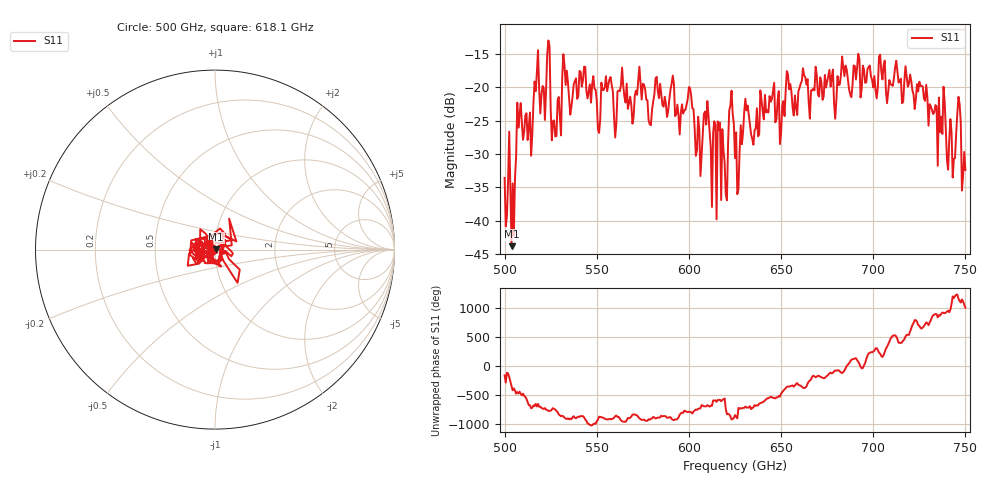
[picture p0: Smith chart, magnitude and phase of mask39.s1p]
!Created with skrf (http://scikit-rf.org).
# GHz S MA R 50.0
!freq magS11 angS11
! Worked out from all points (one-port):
!   401 points, 500 GHz to 750 GHz, reference 50 ohm
!   lowest |S11| = -43.8 dB at 503.8 GHz (marker M1), VSWR 1.01, Z = 50.6 + j0.128 ohm
!   |S11| at or under -10 dB: start of sweep to end of sweep
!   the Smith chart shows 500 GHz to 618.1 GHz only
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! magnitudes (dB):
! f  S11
! 500 GHz  -33.6
! 503.8 GHz  -43.8
! 508.1 GHz  -24.1
! 513.8 GHz  -23.8
! 517.5 GHz  -17.9
! 520.6 GHz  -19.8
! 523.8 GHz  -13.0
! 526.9 GHz  -25.0
! 531.2 GHz  -18.5
! 542.5 GHz  -19.0
! 550.6 GHz  -26.3
! 562.5 GHz  -20.6
! 579.4 GHz  -25.7
! 590.6 GHz  -19.5
! 593.8 GHz  -22.6
! 600.6 GHz  -20.1
! 605 GHz  -24.4
! 609.4 GHz  -25.6
! 620 GHz  -36.1
! 623.1 GHz  -20.5
! 625 GHz  -30.6
! 631.2 GHz  -23.5
! 656.2 GHz  -23.1
! 687.5 GHz  -21.1
! 718.8 GHz  -19.9
! 743.8 GHz  -30.7
! 746.2 GHz  -21.5
! 750 GHz  -32.4
